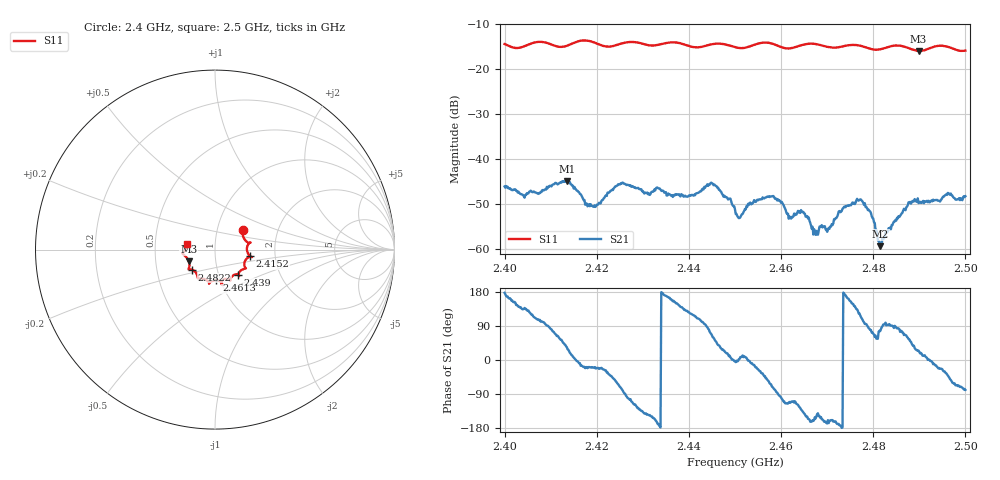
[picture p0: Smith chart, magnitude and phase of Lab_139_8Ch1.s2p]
# Hz S RI R 50
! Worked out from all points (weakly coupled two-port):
!   601 points, 2.4 GHz to 2.5 GHz, reference 50 ohm
!   highest |S21| = -44.83 dB at 2.4135 GHz (marker M1); lowest = -59.4 dB at 2.4815 GHz (marker M2)
!   lowest |S11| = -15.9 dB at 2.4898 GHz (marker M3), VSWR 1.38, Z = 37 - j5 ohm
!   |S11| at or under -10 dB: start of sweep to end of sweep
!   S12 and S22 are empty: the file has one direction only
!   S11 on the Smith chart (normalised r, x): 2.4 GHz: 1.33, +0.31; 2.4152 GHz: 1.48, -0.11; 2.439 GHz: 1.24, -0.36; 2.4613 GHz: 0.96, -0.34; 2.4822 GHz: 0.75, -0.17; 2.5 GHz: 0.73, +0.05
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2.4e9  0.1555 0.1117  -0.00496 0.000235  0 0  0 0
2.404167e9  0.1736 0.0467  -0.00273 0.00274  0 0  0 0
2.4135e9  0.182 -0.0173  0.00475 0.0032  0 0  0 0
2.415167e9  0.1948 -0.0362  0.00488 0.000339  0 0  0 0
2.416667e9  0.2045 -0.0421  0.00383 -0.000986  0 0  0 0
2.419333e9  0.196 -0.0398  0.00277 -0.000994  0 0  0 0
2.425167e9  0.1662 -0.0969  0.00161 -0.00511  0 0  0 0
2.433333e9  0.1324 -0.1327  -0.00464 -0.000965  0 0  0 0
2.439e9  0.1279 -0.1391  -0.00259 0.00286  0 0  0 0
2.445167e9  0.0839 -0.1716  0.00266 0.00461  0 0  0 0
2.45e9  0.0682 -0.163  0.00275 -0.00013  0 0  0 0
2.457833e9  0.0398 -0.1906  0.00167 -0.00346  0 0  0 0
2.461333e9  0.00793 -0.1706  -0.00103 -0.00222  0 0  0 0
2.464667e9  -0.0306 -0.1846  -0.00183 -0.00179  0 0  0 0
2.466667e9  -0.0328 -0.1902  -0.0016 -0.000506  0 0  0 0
2.470333e9  -0.0458 -0.1707  -0.00167 -0.000396  0 0  0 0
2.477e9  -0.0957 -0.1571  -0.00191 0.00295  0 0  0 0
2.4815e9  -0.1215 -0.1147  0.00026 0.00104  0 0  0 0
2.482167e9  -0.1287 -0.1117  -8.05e-05 0.00129  0 0  0 0
2.483333e9  -0.1398 -0.1101  -6.99e-05 0.0017  0 0  0 0
2.489833e9  -0.1459 -0.0659  0.00294 0.00135  0 0  0 0
2.5e9  -0.1583 0.0336  0.000743 -0.00379  0 0  0 0
